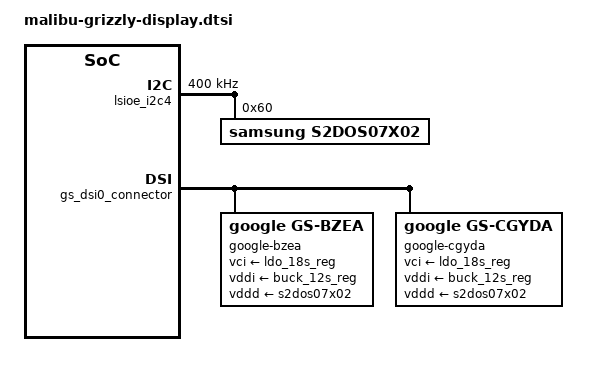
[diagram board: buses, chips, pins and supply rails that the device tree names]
// SPDX-License-Identifier: GPL-2.0-only
/*
 * grizzly display device tree source
 *
 * Copyright 2025 Google LLC
 */

#include <dt-bindings/gpio/gpio.h>

&lsioe_i2c4 {
	status = "ok";
	#address-cells = <1>;
	#size-cells = <0>;
	clock-frequency = <400000>;
	s2dos07x02: s2dos07x02@60 {
		compatible = "samsung,s2dos07x02";
		reg = <0x60>;
		status = "okay";
		regulator-name = "s2dos07x02-pmic";
	};
};

&dpu {
	pinctrl-0 = <&disp0_2_ap_te>;
	pinctrl-names = "default";
};

&gs_dsi0_connector {
	google,preferred-panel = <&google_gs_cgyda>;

	google_gs_bzea: panel-gs-bzea {
		compatible = "google,gs-bzea";
		label = "google-bzea";
		channel = <0>;

		/* reset, power */
		reset-gpios = <PMICS2DISP0_RESET_L(GPIO_ACTIVE_HIGH)>;
		vci-supply = <&ldo_18s_reg>;
		vddi-supply = <&buck_12s_reg>;
		vddd-supply = <&s2dos07x02>;
		vddd-normal-microvolt = <887500>;
		vddd-lp-microvolt     = <862500>;
	};

	google_gs_cgyda: panel-gs-cgyda {
		compatible = "google,gs-cgyda";
		label = "google-cgyda";
		channel = <0>;
		allowed-hs-clks = <1390 1410>;

		/* reset, power */
		reset-gpios = <PMICS2DISP0_RESET_L(GPIO_ACTIVE_HIGH)>;
		tout-gpios = <DISP0_2_AP_PROX0_TOUT(GPIO_ACTIVE_HIGH)>;
		err_fg-gpios = <DISP0_2_AP_ERR_FG(GPIO_ACTIVE_HIGH)>;
		vci-supply = <&ldo_18s_reg>;
		vddi-supply = <&buck_12s_reg>;
		vddd-supply = <&s2dos07x02>;
		vddd-normal-microvolt = <887500>;
		vddd-lp-microvolt     = <862500>;

		pinctrl-names = "default", "sleep";
		pinctrl-0 = <&disp0pmic2aoss_int_od_l_1v2>;
		pinctrl-1 = <&disp0pmic2aoss_int_od_l_1v2_sleep>;

		/* PMIC IRQB interrupt */
		pmic_irq-gpio = <DISP0PMIC2AOSS_INT_OD_L_1V2(GPIO_ACTIVE_LOW)>;
		pmic-regmap = <&s2dos07x02>;
	};
};

&dsi2h0 {
	datarate = <1390>;
};
